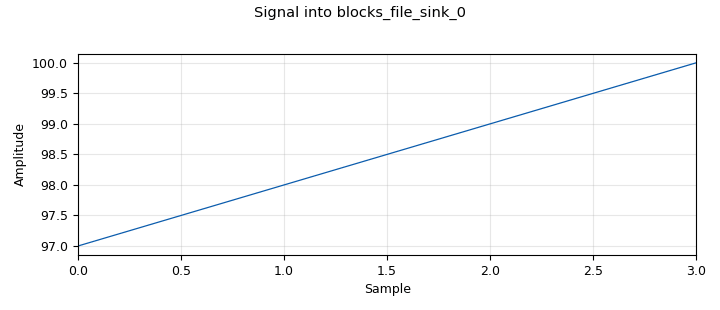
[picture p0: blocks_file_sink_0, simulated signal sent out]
<?xml version='1.0' encoding='utf-8'?>
<?grc format='1' created='3.7.11'?>
<flow_graph>
<block>
<key>options</key>
<param><key>id</key><value>top_block</value></param>
<param><key>generate_options</key><value>no_gui</value></param>
</block>
<block>
<key>variable</key>
<param><key>id</key><value>acode</value></param>
<param><key>_enabled</key><value>0</value></param>
<param><key>value</key><value>'010110011011101100010101011111101001001110001011010001101010001'</value></param>
</block>
<block>
<key>variable</key>
<param><key>id</key><value>samp_rate</value></param>
<param><key>value</key><value>32000</value></param>
</block>
<block>
<key>variable_tag_object</key>
<param><key>id</key><value>tagL</value></param>
<param><key>key</key><value>pmt.intern("a")</value></param>
<param><key>offset</key><value>0</value></param>
<param><key>src</key><value>pmt.intern("Vsrc")</value></param>
<param><key>value</key><value>pmt.intern("value")</value></param>
</block>
<block>
<key>blks2_packet_encoder</key>
<param><key>id</key><value>blks2_packet_encoder_0</value></param>
<param><key>access_code</key><value></value></param>
<param><key>bits_per_symbol</key><value>1</value></param>
<param><key>type</key><value>byte</value></param>
<param><key>pad_for_usrp</key><value>False</value></param>
<param><key>payload_length</key><value>4</value></param>
<param><key>preamble</key><value></value></param>
<param><key>samples_per_symbol</key><value>4</value></param>
</block>
<block>
<key>blocks_file_sink</key>
<param><key>id</key><value>blocks_file_sink_0</value></param>
<param><key>file</key><value>/home/diane/repos/sdrgnuradio/packet_encoder_decoder/simulation/test_default_preamble_access_code/in.bin</value></param>
<param><key>type</key><value>byte</value></param>
</block>
<block>
<key>blocks_file_sink</key>
<param><key>id</key><value>blocks_file_sink_0_0_0</value></param>
<param><key>file</key><value>/home/diane/repos/sdrgnuradio/packet_encoder_decoder/simulation/test_default_preamble_access_code/encoded.bin</value></param>
<param><key>type</key><value>byte</value></param>
</block>
<block>
<key>blocks_throttle</key>
<param><key>id</key><value>blocks_throttle_0</value></param>
<param><key>samples_per_second</key><value>samp_rate</value></param>
<param><key>type</key><value>byte</value></param>
</block>
<block>
<key>blocks_uchar_to_float</key>
<param><key>id</key><value>blocks_uchar_to_float_0</value></param>
<param><key>_enabled</key><value>0</value></param>
</block>
<block>
<key>blocks_vector_source_x</key>
<param><key>id</key><value>blocks_vector_source_x_0</value></param>
<param><key>type</key><value>byte</value></param>
<param><key>repeat</key><value>False</value></param>
<param><key>tags</key><value>[tagL]</value></param>
<param><key>vector</key><value>list(ord(i) for i in 'abcd')</value></param>
</block>
<block>
<key>note</key>
<param><key>id</key><value>note_0</value></param>
<param><key>comment</key><value>preamble: a4f2
access code: acdd a4e2 f28c 20fc</value></param>
<param><key>note</key><value>Default Values</value></param>
</block>
<block>
<key>qtgui_time_sink_x</key>
<param><key>id</key><value>qtgui_time_sink_x_0</value></param>
<param><key>autoscale</key><value>True</value></param>
<param><key>_enabled</key><value>0</value></param>
<param><key>color1</key><value>"blue"</value></param>
<param><key>label1</key><value></value></param>
<param><key>name</key><value>"Encoded Output"</value></param>
<param><key>size</key><value>1024</value></param>
<param><key>srate</key><value>samp_rate</value></param>
<param><key>type</key><value>float</value></param>
</block>
<connection><source_block_id>blks2_packet_encoder_0</source_block_id><sink_block_id>blocks_file_sink_0_0_0</sink_block_id><source_key>0</source_key><sink_key>0</sink_key></connection>
<connection><source_block_id>blocks_throttle_0</source_block_id><sink_block_id>blks2_packet_encoder_0</sink_block_id><source_key>0</source_key><sink_key>0</sink_key></connection>
<connection><source_block_id>blocks_throttle_0</source_block_id><sink_block_id>blocks_file_sink_0</sink_block_id><source_key>0</source_key><sink_key>0</sink_key></connection>
<connection><source_block_id>blocks_throttle_0</source_block_id><sink_block_id>blocks_uchar_to_float_0</sink_block_id><source_key>0</source_key><sink_key>0</sink_key></connection>
<connection><source_block_id>blocks_uchar_to_float_0</source_block_id><sink_block_id>qtgui_time_sink_x_0</sink_block_id><source_key>0</source_key><sink_key>0</sink_key></connection>
<connection><source_block_id>blocks_vector_source_x_0</source_block_id><sink_block_id>blocks_throttle_0</sink_block_id><source_key>0</source_key><sink_key>0</sink_key></connection>
</flow_graph>
